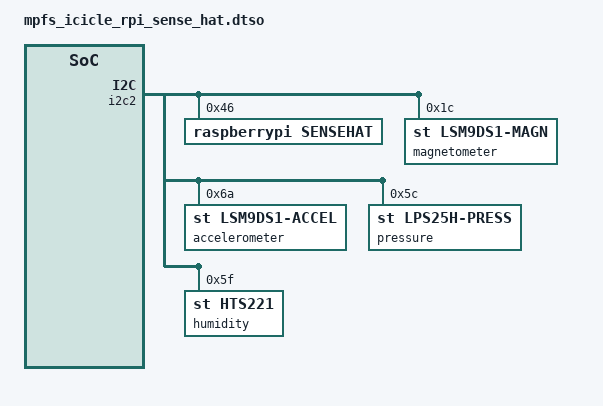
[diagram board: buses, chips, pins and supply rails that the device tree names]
// SPDX-License-Identifier: (GPL-2.0+ OR MIT)
/*
 * Device Tree Overlay for Icicle Kit
 *
 * Copyright (C) 2022 Microchip Technology Inc. and its subsidiaries.
 * Author: shravan kumar <shravan.chippa@microchip.com>
 *
 */

/dts-v1/;
/plugin/;

/ {
	compatible = "microchip,mpfs-icicle-reference-rtlv2302", "microchip,mpfs-icicle-kit","microchip,mpfs";
};

&i2c2 {
	#address-cells = <0x1>;
	#size-cells = <0x0>;
	status = "okay";

	sensehat@46 {
		compatible = "raspberrypi,sensehat";
		reg = <0x46>;
		interrupt-parent = <&gpio2>;
		status = "okay";

		display {
			compatible = "raspberrypi,sensehat-display";
			status = "okay";
		};

		joystick {
			compatible = "raspberrypi,sensehat-joystick";
			interrupts = <11 1>;
			status = "disabled";
		};
	};

	magnetometer@1c {
		compatible = "st,lsm9ds1-magn";
		reg = <0x1c>;
		status = "okay";
	};

	accelerometer@6a {
		compatible = "st,lsm9ds1-accel";
		reg = <0x6a>;
		status = "okay";
	};

	pressure@5c {
		compatible = "st,lps25h-press";
		reg = <0x5c>;
		status = "okay";
	};

	humidity@5f {
		compatible = "st,hts221";
		reg = <0x5f>;
		status = "okay";
	};
};
